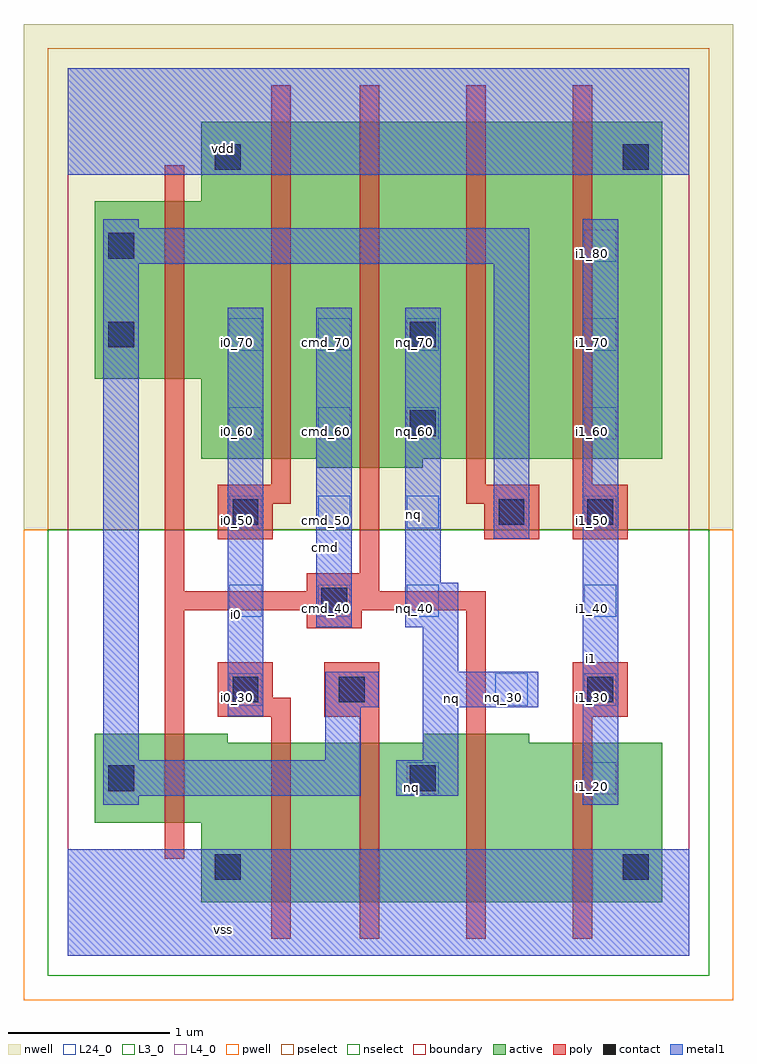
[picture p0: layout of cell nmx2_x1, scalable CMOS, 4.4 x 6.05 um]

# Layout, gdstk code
import gdstk
lib = gdstk.Library(unit=1e-6, precision=2.5e-09)
def R(c, l, rs):  # rectangles x0, y0, x1, y1
    for r in rs: c.add(gdstk.rectangle(r[:2], r[2:], *l))
def A(c, l, x, y, w, h, nx, ny, dx, dy):  # array of equal rectangles
    R(c, l, [(x+i*dx, y+j*dy, x+i*dx+w, y+j*dy+h) for i in range(nx) for j in range(ny)])
L3_0 = (3, 0)
L4_0 = (4, 0)
L24_0 = (24, 0)
contact = (25, 0)
pwell = (41, 0)
nwell = (42, 0)
active = (43, 0)
pselect = (44, 0)
nselect = (45, 0)
poly = (46, 0)
metal1 = (49, 0)
boundary = (63, 0)

nmx2_x1 = lib.new_cell('nmx2_x1')
R(nmx2_x1, L3_0, [(0.825,0.33,3.685,0.825), (0.165,0.825,3.685,1.32), (0.165,1.32,0.99,1.375), (2.2,1.32,2.86,1.375)])
R(nmx2_x1, L4_0, [(1.54,3.025,2.2,3.08), (0.825,3.08,3.685,3.575), (0.165,3.575,3.685,4.675), (0.825,4.675,3.685,5.17)])
A(nmx2_x1, L24_0, 3.2, 1, 0.2, 0.2, 1, 7, 0, 0.55)
A(nmx2_x1, L24_0, 1, 2.1, 0.2, 0.2, 3, 4, 0.55, 0.55)
R(nmx2_x1, L24_0, [(2.1,1,2.3,1.2), (1,1.55,1.2,1.75), (2.65,1.55,2.85,1.75)])
R(nmx2_x1, contact, [(0.91,0.47,1.07,0.63), (3.44,0.47,3.6,0.63), (0.25,1.02,0.41,1.18), (2.12,1.02,2.28,1.18), (1.02,1.57,1.18,1.73), (1.68,1.57,1.84,1.73), (3.22,1.57,3.38,1.73), (1.57,2.12,1.73,2.28), (1.02,2.67,1.18,2.83), (2.67,2.67,2.83,2.83), (3.22,2.67,3.38,2.83), (2.12,3.22,2.28,3.38), (0.25,3.77,0.41,3.93), (2.12,3.77,2.28,3.93), (0.25,4.32,0.41,4.48), (0.91,4.87,1.07,5.03), (3.44,4.87,3.6,5.03)])
R(nmx2_x1, pwell, [(-0.275,-0.275,4.125,2.64)])
R(nmx2_x1, nwell, [(-0.275,2.64,4.125,5.775)])
R(nmx2_x1, active, [(0.825,0.33,3.685,0.825), (0.165,0.825,3.685,1.32), (0.165,1.32,0.99,1.375), (2.2,1.32,2.86,1.375), (1.54,3.025,2.2,3.08), (0.825,3.08,3.685,3.575), (0.165,3.575,3.685,4.675), (0.825,4.675,3.685,5.17)])
R(nmx2_x1, pselect, [(-0.125,2.64,3.975,5.625)])
R(nmx2_x1, nselect, [(-0.125,-0.125,3.975,2.64)])
R(nmx2_x1, poly, [(1.26,0.105,1.38,1.48), (1.81,0.105,1.93,1.48), (2.47,0.105,2.59,2.14), (3.13,0.105,3.25,1.48), (0.6,0.6,0.72,2.14), (0.93,1.48,1.38,1.6), (1.59,1.48,1.93,1.82), (3.13,1.48,3.47,1.82), (0.93,1.6,1.27,1.82), (1.48,2.03,1.82,2.14), (0.6,2.14,2.59,2.26), (0.6,2.26,0.72,4.9), (1.48,2.26,1.93,2.37), (1.81,2.37,1.93,5.395), (0.93,2.58,1.27,2.8), (2.58,2.58,2.92,2.8), (3.13,2.58,3.47,2.92), (0.93,2.8,1.38,2.92), (2.47,2.8,2.92,2.92), (1.26,2.92,1.38,5.395), (2.47,2.92,2.59,5.395), (3.13,2.92,3.25,5.395)])
R(nmx2_x1, metal1, [(0,0,3.85,0.66), (0.22,0.935,0.44,0.99), (3.19,0.935,3.41,4.565), (0.22,0.99,1.815,1.21), (2.035,0.99,2.42,1.21), (0.22,1.21,0.44,4.29), (1.595,1.21,1.815,1.54), (2.2,1.21,2.42,1.54), (0.99,1.485,1.21,4.015), (1.595,1.54,1.925,1.76), (2.2,1.54,2.915,1.76), (2.2,1.76,2.42,2.035), (1.54,2.035,1.76,4.015), (2.09,2.035,2.42,2.31), (2.09,2.31,2.31,4.015), (2.64,2.585,2.86,4.29), (0.22,4.29,2.86,4.51), (0.22,4.51,0.44,4.565), (0,4.84,3.85,5.5)])
R(nmx2_x1, boundary, [(0,0,3.85,5.5)])
nmx2_x1.add(gdstk.Label('vss', (0.9625,0.165), layer=49, texttype=0))
nmx2_x1.add(gdstk.Label('i1', (3.245,1.8425), layer=49, texttype=0))
nmx2_x1.add(gdstk.Label('nq', (2.13,1.045), layer=49, texttype=0))
nmx2_x1.add(gdstk.Label('nq', (2.3775,1.595), layer=49, texttype=0))
nmx2_x1.add(gdstk.Label('nq', (2.145,2.735), layer=49, texttype=0))
nmx2_x1.add(gdstk.Label('cmd', (1.595,2.53), layer=49, texttype=0))
nmx2_x1.add(gdstk.Label('i0', (1.045,2.1175), layer=49, texttype=0))
nmx2_x1.add(gdstk.Label('vdd', (0.9625,5.005), layer=49, texttype=0))
nmx2_x1.add(gdstk.Label('nq_20', (2.15,1.05), layer=24, texttype=0))
nmx2_x1.add(gdstk.Label('nq_40', (2.15,2.15), layer=24, texttype=0))
nmx2_x1.add(gdstk.Label('nq_30', (2.7,1.6), layer=24, texttype=0))
nmx2_x1.add(gdstk.Label('nq_50', (2.15,2.7), layer=24, texttype=0))
nmx2_x1.add(gdstk.Label('nq_60', (2.15,3.25), layer=24, texttype=0))
nmx2_x1.add(gdstk.Label('nq_70', (2.15,3.8), layer=24, texttype=0))
nmx2_x1.add(gdstk.Label('i1_80', (3.25,4.35), layer=24, texttype=0))
nmx2_x1.add(gdstk.Label('i1_70', (3.25,3.8), layer=24, texttype=0))
nmx2_x1.add(gdstk.Label('i1_60', (3.25,3.25), layer=24, texttype=0))
nmx2_x1.add(gdstk.Label('i1_50', (3.25,2.7), layer=24, texttype=0))
nmx2_x1.add(gdstk.Label('i1_40', (3.25,2.15), layer=24, texttype=0))
nmx2_x1.add(gdstk.Label('i1_30', (3.25,1.6), layer=24, texttype=0))
nmx2_x1.add(gdstk.Label('i1_20', (3.25,1.05), layer=24, texttype=0))
nmx2_x1.add(gdstk.Label('i0_70', (1.05,3.8), layer=24, texttype=0))
nmx2_x1.add(gdstk.Label('i0_60', (1.05,3.25), layer=24, texttype=0))
nmx2_x1.add(gdstk.Label('i0_50', (1.05,2.7), layer=24, texttype=0))
nmx2_x1.add(gdstk.Label('i0_40', (1.05,2.15), layer=24, texttype=0))
nmx2_x1.add(gdstk.Label('i0_30', (1.05,1.6), layer=24, texttype=0))
nmx2_x1.add(gdstk.Label('cmd_70', (1.6,3.8), layer=24, texttype=0))
nmx2_x1.add(gdstk.Label('cmd_60', (1.6,3.25), layer=24, texttype=0))
nmx2_x1.add(gdstk.Label('cmd_50', (1.6,2.7), layer=24, texttype=0))
nmx2_x1.add(gdstk.Label('cmd_40', (1.6,2.15), layer=24, texttype=0))

lib.write_gds('nmx2_x1.gds')
